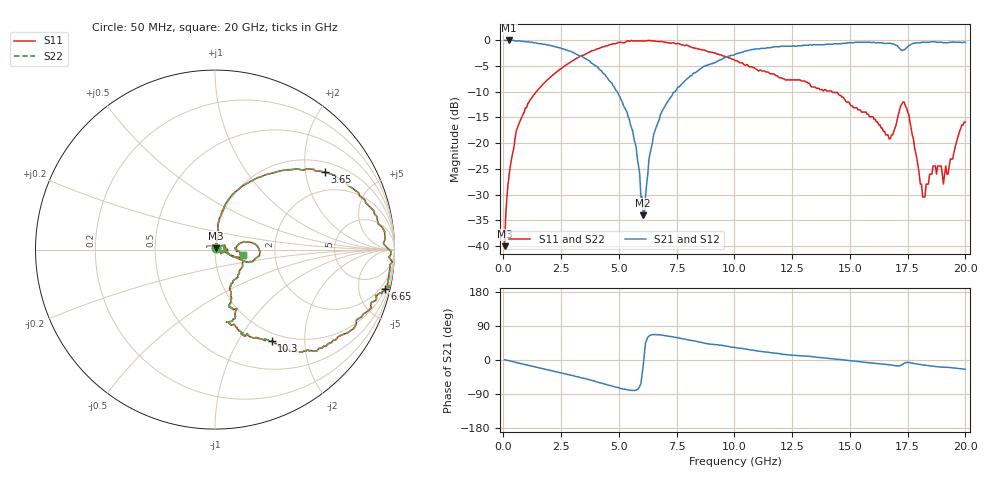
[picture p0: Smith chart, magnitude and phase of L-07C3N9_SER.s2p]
#	mhz	s	ma	r	50
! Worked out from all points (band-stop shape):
!   400 points, 50 MHz to 20 GHz, reference 50 ohm
!   highest |S21| = -0.09 dB at 250 MHz (marker M1); lowest = -34.0 dB at 6.05 GHz (marker M2)
!   |S21| within 3 dB of the highest: start of sweep to 3.296 GHz; 9.804 GHz to end of sweep
!   lowest |S11| = -40.0 dB at 50 MHz (marker M3), VSWR 1.02, Z = 50.6 + j0.798 ohm
!   |S11| at or under -10 dB: start of sweep to 1.431 GHz; 14.22 GHz to end of sweep
!   |S22| runs from -40.0 to -0.1 dB; largest |S21 - S12| = 0
!   S11 on the Smith chart (normalised r, x): 50 MHz: 1.01, +0.02; 3.65 GHz: 1.30, +2.57; 6.65 GHz: 1.13, -8.49; 10.3 GHz: 0.88, -1.40; 20 GHz: 1.37, -0.08
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50  0.01 52.0  0.99 0.8  0.99 0.8  0.01 52.0
250  0.05 78.6  0.99 -1.8  0.99 -1.8  0.05 78.6
550  0.13 83.3  0.98 -6.7  0.98 -6.7  0.13 83.3
1050  0.24 78.0  0.96 -13.8  0.96 -13.8  0.24 78.0
3400  0.71 38.9  0.69 -47.3  0.69 -47.3  0.71 38.9
3650  0.75 35.1  0.64 -51.0  0.64 -51.0  0.75 35.1
5350  0.98 -0.6  0.2 -78.3  0.2 -78.3  0.98 -0.6
5750  0.98 -7.0  0.09 -79.4  0.09 -79.4  0.98 -7.0
6050  0.98 -11.3  0.02 -15.2  0.02 -15.2  0.98 -11.3
6300  0.99 -12.0  0.07 62.8  0.07 62.8  0.99 -12.0
6650  0.97 -13.2  0.15 66.7  0.15 66.7  0.97 -13.2
6700  0.97 -13.2  0.16 66.6  0.16 66.6  0.97 -13.2
8050  0.87 -32.3  0.44 52.2  0.44 52.2  0.87 -32.3
10050  0.63 -56.9  0.73 32.8  0.73 32.8  0.63 -56.9
10300  0.6 -58.3  0.76 30.7  0.76 30.7  0.6 -58.3
13350  0.35 -69.5  0.89 8.8  0.89 8.8  0.35 -69.5
16700  0.11 3.0  0.93 -12.7  0.93 -12.7  0.11 3.0
17350  0.25 -7.7  0.8 -8.7  0.8 -8.7  0.25 -7.7
18250  0.03 -21.7  0.95 -14.0  0.95 -14.0  0.03 -21.7
18600  0.06 -6.4  0.96 -16.3  0.96 -16.3  0.06 -6.4
19050  0.04 31.7  0.94 -18.7  0.94 -18.7  0.04 31.7
20000  0.16 -10.8  0.95 -24.4  0.95 -24.4  0.16 -10.8
